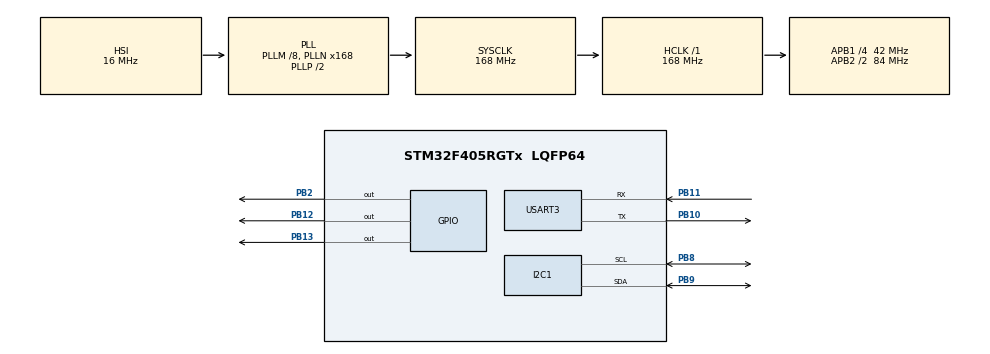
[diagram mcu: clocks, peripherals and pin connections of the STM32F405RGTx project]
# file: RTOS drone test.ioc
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I2C1.I2C_Mode=I2C_Fast
Mcu.Family=STM32F4
Mcu.Name=STM32F405RGTx
Mcu.Package=LQFP64
NVIC.PriorityGroup=NVIC_PRIORITYGROUP_4
NVIC.TIM3_IRQn=true\:0\:0\:false\:false\:true\:true\:true
PB10.Mode=Asynchronous
PB10.Signal=USART3_TX
PB11.Mode=Asynchronous
PB11.Signal=USART3_RX
PB12.Signal=GPIO_Output
PB13.Signal=GPIO_Output
PB2.Signal=GPIO_Output
PB8.Mode=I2C
PB8.Signal=I2C1_SCL
PB9.Mode=I2C
PB9.Signal=I2C1_SDA
PH0-OSC_IN.Mode=HSE-External-Oscillator
PH0-OSC_IN.Signal=RCC_OSC_IN
PH1-OSC_OUT.Mode=HSE-External-Oscillator
PH1-OSC_OUT.Signal=RCC_OSC_OUT
ProjectManager.HeapSize=0x200
ProjectManager.StackSize=0x400
ProjectManager.TargetToolchain=STM32CubeIDE
RCC.48MHZClocksFreq_Value=84000000
RCC.AHBFreq_Value=168000000
RCC.APB1CLKDivider=RCC_HCLK_DIV4
RCC.APB1Freq_Value=42000000
RCC.APB1TimFreq_Value=84000000
RCC.APB2CLKDivider=RCC_HCLK_DIV2
RCC.APB2Freq_Value=84000000
RCC.APB2TimFreq_Value=168000000
RCC.CortexFreq_Value=168000000
RCC.HCLKFreq_Value=168000000
RCC.HSE_VALUE=12000000
RCC.HSI_VALUE=16000000
RCC.LSE_VALUE=32768
RCC.PLLM=8
RCC.PLLN=168
RCC.SYSCLKFreq_VALUE=168000000
RCC.SYSCLKSource=RCC_SYSCLKSOURCE_PLLCLK
RCC.VCOOutputFreq_Value=336000000
TIM3.Period=10000
TIM3.Prescaler=167
TIM4.Prescaler=167
USART3.VirtualMode=VM_ASYNC
VP_TIM3_VS_ClockSourceINT.Mode=Internal
VP_TIM4_VS_ClockSourceINT.Mode=Internal
board=custom

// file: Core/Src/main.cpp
/* USER CODE BEGIN Header */
/**
  ******************************************************************************
  * @file           : main.c
  * @brief          : Main program body
  ******************************************************************************
  * @attention
  *
  * <h2><center>&copy; Copyright (c) 2020 STMicroelectronics.
  * All rights reserved.</center></h2>
  *
  * This software component is licensed by ST under BSD 3-Clause license,
  * the "License"; You may not use this file except in compliance with the
  * License. You may obtain a copy of the License at:
  *                        opensource.org/licenses/BSD-3-Clause
  *
  ******************************************************************************
  */
/* USER CODE END Header */

#include "main.h"

/* USER CODE BEGIN Includes */
#include "mpu9250.hpp"
#include "mpu_data_type.hpp"
#include "EKF.h"
#include "MadgwickAHRS.h"
//#include "IMU_EKF.h"
/* USER CODE END Includes */

TIM_HandleTypeDef htim3;
//TIM_HandleTypeDef htim4;

/* USER CODE BEGIN PV */

IMU_data data_imu_raw;
IMU_data data_imu_buffer;
EULER_angle drone_state;
EULER_angle magd_state;
EKF ekf;
uint8_t i;
/* USER CODE END PV */

void SystemClock_Config(void);
static void MX_GPIO_Init(void);
static void MX_I2C1_Init(void);
static void MX_USART3_UART_Init(void);
static void MX_TIM3_Init(void);
static void MX_TIM4_Init(void);

/* USER CODE BEGIN 0 */
double x[7] = {1,0,0,0,0,0,0};
/* USER CODE END 0 */

int main(void)
{

  /* MCU Configuration--------------------------------------------------------*/

  /* Reset of all peripherals, Initializes the Flash interface and the Systick. */
  HAL_Init();

  /* Configure the system clock */
  SystemClock_Config();

  /* Initialize all configured peripherals */
  MX_GPIO_Init();
  MX_I2C1_Init();
  MX_USART3_UART_Init();
  MX_TIM3_Init();
  MX_TIM4_Init();
  /* USER CODE BEGIN 2 */

    init_MPU();
    calibration_IMU();

    x[4] = bGx*DEC2RAD;
    x[5] = bGy*DEC2RAD;
    x[6] = bGz*DEC2RAD;

    ekf.loadEKF(x,P,Q, R_full);

    HAL_TIM_Base_Start(&htim4);
//	  data_imu_buffer.Gyro_x = 0.5;
//	  data_imu_buffer.Gyro_y = 0.9;
//	  data_imu_buffer.Gyro_z = 0.8;

//	  gyro_angle_r += data_imu_buffer.Gyro_x*0.01;
//	  gyro_angle_p += data_imu_buffer.Gyro_y*0.01;
//	  gyro_angle_y += data_imu_buffer.Gyro_z*0.01;

//	  gyro_angle_r += (data_imu_buffer.Gyro_x - bGx)*0.01;
//	  gyro_angle_p += (data_imu_buffer.Gyro_y - bGy)*0.01;
//	  gyro_angle_y += (data_imu_buffer.Gyro_z - bGz)*0.01;
//
//	  magd_state.roll = gyro_angle_r;
//	  magd_state.pitch = gyro_angle_p;
//	  magd_state.yaw = gyro_angle_y;

//	  data_imu_buffer.Acc_x =  0;
//	  data_imu_buffer.Acc_y =  0;
//	  data_imu_buffer.Acc_z =  1;
  /* USER CODE END 2 */

  /* Infinite loop */
  while (1)
  {

    /* USER CODE BEGIN 3 */

	//	  gyro_angle_r += data_imu_buffer.Gyro_x*0.01;
	//	  gyro_angle_p += data_imu_buffer.Gyro_y*0.01;
	//	  gyro_angle_y += data_imu_buffer.Gyro_z*0.01;

	//	  gyro_angle_r += (data_imu_buffer.Gyro_x - bGx)*0.01;
	//	  gyro_angle_p += (data_imu_buffer.Gyro_y - bGy)*0.01;
	//	  gyro_angle_y += (data_imu_buffer.Gyro_z - bGz)*0.01;
	//
	//	  magd_state.roll = gyro_angle_r;
	//	  magd_state.pitch = gyro_angle_p;
	//	  magd_state.yaw = gyro_angle_y;
	          data_imu_raw = process_MPU(true);
              int start,end,time;
              start = htim4.Instance->CNT;
//			  ekf.updateEKF(data_imu_raw, 0.01);

			 //
			 //		  data_imu_buffer.Acc_x =  gyro_angle_r;
			 //		  data_imu_buffer.Acc_y =  gyro_angle_p;
			 //		  data_imu_buffer.Acc_z =  gyro_angle_y;
			 	  drone_state = complementary_filter(data_imu_raw, 0.01, 0.99);
			 	 end = htim4.Instance->CNT;
			 	 time = end -start;
//			  data_imu_buffer.Acc_x =  0;
//			  data_imu_buffer.Acc_y +=  0.001;
//			  data_imu_buffer.Acc_z -=  0.001;

//
//		  drone_state = IMU_EKF(x, 0.01,P,Q,R_full,data_imu_buffer);

  }
  /* USER CODE END 3 */
}

void SystemClock_Config(void)
{
  RCC_OscInitTypeDef RCC_OscInitStruct = {0};
  RCC_ClkInitTypeDef RCC_ClkInitStruct = {0};

  /** Configure the main internal regulator output voltage
  */
  __HAL_RCC_PWR_CLK_ENABLE();
  __HAL_PWR_VOLTAGESCALING_CONFIG(PWR_REGULATOR_VOLTAGE_SCALE1);
  /** Initializes the CPU, AHB and APB busses clocks
  */
  RCC_OscInitStruct.OscillatorType = RCC_OSCILLATORTYPE_HSI;
  RCC_OscInitStruct.HSIState = RCC_HSI_ON;
  RCC_OscInitStruct.HSICalibrationValue = RCC_HSICALIBRATION_DEFAULT;
  RCC_OscInitStruct.PLL.PLLState = RCC_PLL_ON;
  RCC_OscInitStruct.PLL.PLLSource = RCC_PLLSOURCE_HSI;
  RCC_OscInitStruct.PLL.PLLM = 8;
  RCC_OscInitStruct.PLL.PLLN = 168;
  RCC_OscInitStruct.PLL.PLLP = RCC_PLLP_DIV2;
  RCC_OscInitStruct.PLL.PLLQ = 4;
  if (HAL_RCC_OscConfig(&RCC_OscInitStruct) != HAL_OK)
  {
    Error_Handler();
  }
  /** Initializes the CPU, AHB and APB busses clocks
  */
  RCC_ClkInitStruct.ClockType = RCC_CLOCKTYPE_HCLK|RCC_CLOCKTYPE_SYSCLK
                              |RCC_CLOCKTYPE_PCLK1|RCC_CLOCKTYPE_PCLK2;
  RCC_ClkInitStruct.SYSCLKSource = RCC_SYSCLKSOURCE_PLLCLK;
  RCC_ClkInitStruct.AHBCLKDivider = RCC_SYSCLK_DIV1;
  RCC_ClkInitStruct.APB1CLKDivider = RCC_HCLK_DIV4;
  RCC_ClkInitStruct.APB2CLKDivider = RCC_HCLK_DIV2;

  if (HAL_RCC_ClockConfig(&RCC_ClkInitStruct, FLASH_LATENCY_5) != HAL_OK)
  {
    Error_Handler();
  }
}

static void MX_TIM3_Init(void)
{

  TIM_ClockConfigTypeDef sClockSourceConfig = {0};
  TIM_MasterConfigTypeDef sMasterConfig = {0};

  htim3.Instance = TIM3;
  htim3.Init.Prescaler = 167;
  htim3.Init.CounterMode = TIM_COUNTERMODE_UP;
  htim3.Init.Period = 20000;
  htim3.Init.ClockDivision = TIM_CLOCKDIVISION_DIV1;
  htim3.Init.AutoReloadPreload = TIM_AUTORELOAD_PRELOAD_DISABLE;
  if (HAL_TIM_Base_Init(&htim3) != HAL_OK)
  {
    Error_Handler();
  }
  sClockSourceConfig.ClockSource = TIM_CLOCKSOURCE_INTERNAL;
  if (HAL_TIM_ConfigClockSource(&htim3, &sClockSourceConfig) != HAL_OK)
  {
    Error_Handler();
  }
  sMasterConfig.MasterOutputTrigger = TIM_TRGO_RESET;
  sMasterConfig.MasterSlaveMode = TIM_MASTERSLAVEMODE_DISABLE;
  if (HAL_TIMEx_MasterConfigSynchronization(&htim3, &sMasterConfig) != HAL_OK)
  {
    Error_Handler();
  }

}

/* USER CODE BEGIN 4 */
void HAL_TIM_PeriodElapsedCallback(TIM_HandleTypeDef *htim){
	if(htim->Instance == TIM3){
		if(i != 0){
			  data_imu_buffer.Gyro_x = 0.5;
			  data_imu_buffer.Gyro_y = 0.9;
			  data_imu_buffer.Gyro_z = 0.8;

		//	  gyro_angle_r += data_imu_buffer.Gyro_x*0.01;
		//	  gyro_angle_p += data_imu_buffer.Gyro_y*0.01;
		//	  gyro_angle_y += data_imu_buffer.Gyro_z*0.01;

		//	  gyro_angle_r += (data_imu_buffer.Gyro_x - bGx)*0.01;
		//	  gyro_angle_p += (data_imu_buffer.Gyro_y - bGy)*0.01;
		//	  gyro_angle_y += (data_imu_buffer.Gyro_z - bGz)*0.01;
		//
		//	  magd_state.roll = gyro_angle_r;
		//	  magd_state.pitch = gyro_angle_p;
		//	  magd_state.yaw = gyro_angle_y;

//			  data_imu_buffer.Acc_x =  0;
//			  data_imu_buffer.Acc_y +=  0.001;
//			  data_imu_buffer.Acc_z -=  0.001;

	//
//		  drone_state = IMU_EKF(x, 0.01,P,Q,R_full,data_imu_buffer);

		}
	}
}
/* USER CODE END 4 */

void Error_Handler(void)
{
}

/************************ (C) COPYRIGHT STMicroelectronics *****END OF FILE****/
